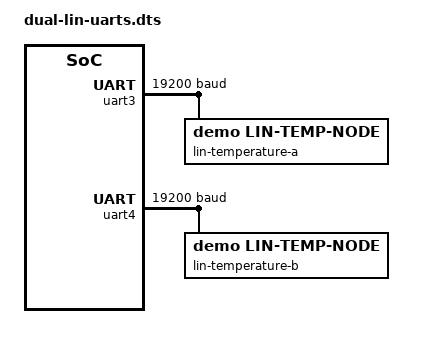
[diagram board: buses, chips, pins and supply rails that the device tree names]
// SPDX-License-Identifier: GPL-2.0-only

/* Two independent UART-backed LIN masters with independent schedules. */
&uart3 {
	current-speed = <19200>;
	status = "okay";
	lin-temperature-a {
		compatible = "demo,lin-temp-node";
		demo,lin-frame-id = <0x12>;
		demo,poll-interval-ms = <1000>;
	};
};

&uart4 {
	current-speed = <19200>;
	status = "okay";
	lin-temperature-b {
		compatible = "demo,lin-temp-node";
		demo,lin-frame-id = <0x13>;
		demo,poll-interval-ms = <1000>;
	};
};
